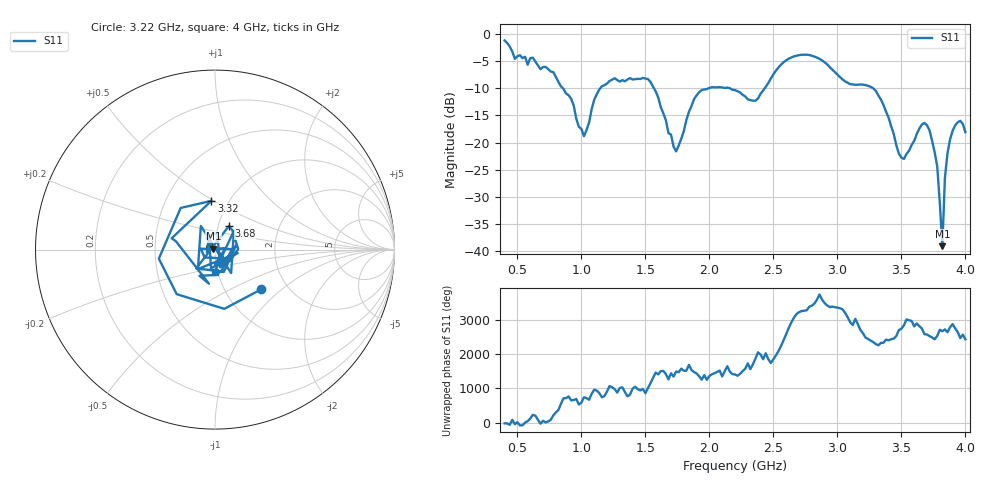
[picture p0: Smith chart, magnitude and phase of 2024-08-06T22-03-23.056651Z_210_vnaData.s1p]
!Created with skrf (http://scikit-rf.org).
# Hz S RI R 50.0
!freq ReS11 ImS11
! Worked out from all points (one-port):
!   181 points, 400 MHz to 4 GHz, reference 50 ohm
!   lowest |S11| = -39.2 dB at 3.82 GHz (marker M1), VSWR 1.02, Z = 49.1 + j0.587 ohm
!   |S11| at or under -10 dB: 856.7 MHz to 1.146 GHz (289.7 MHz wide, 28.9 % of centre); 1.567 GHz to 1.991 GHz (423.9 MHz wide, 23.8 % of centre); 3.281 GHz to end of sweep (the widest 3 of 4)
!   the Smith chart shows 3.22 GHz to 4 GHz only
!   S11 on the Smith chart (normalised r, x): 3.22 GHz: 1.47, -0.74; 3.32 GHz: 0.83, +0.49; 3.68 GHz: 1.12, +0.30; 4 GHz: 0.96, -0.24
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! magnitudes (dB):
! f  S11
! 400 MHz  -1.1
! 480 MHz  -4.5
! 620 MHz  -4.3
! 860 MHz  -10.1
! 1.02 GHz  -18.8
! 1.14 GHz  -10.2
! 1.3 GHz  -8.7
! 1.52 GHz  -8.3
! 1.72 GHz  -20.7
! 1.76 GHz  -20.6
! 1.92 GHz  -10.7
! 2.2 GHz  -10.3
! 2.36 GHz  -12.3
! 2.66 GHz  -4.1
! 2.86 GHz  -4.5
! 3.1 GHz  -9.2
! 3.22 GHz  -9.4
! 3.32 GHz  -11.3
! 3.48 GHz  -22.0
! 3.56 GHz  -21.5
! 3.68 GHz  -16.4
! 3.72 GHz  -17.8
! 3.78 GHz  -24.4
! 3.82 GHz  -39.2
! 3.84 GHz  -26.5
! 3.88 GHz  -19.4
! 3.96 GHz  -16.0
! 4 GHz  -18.1
